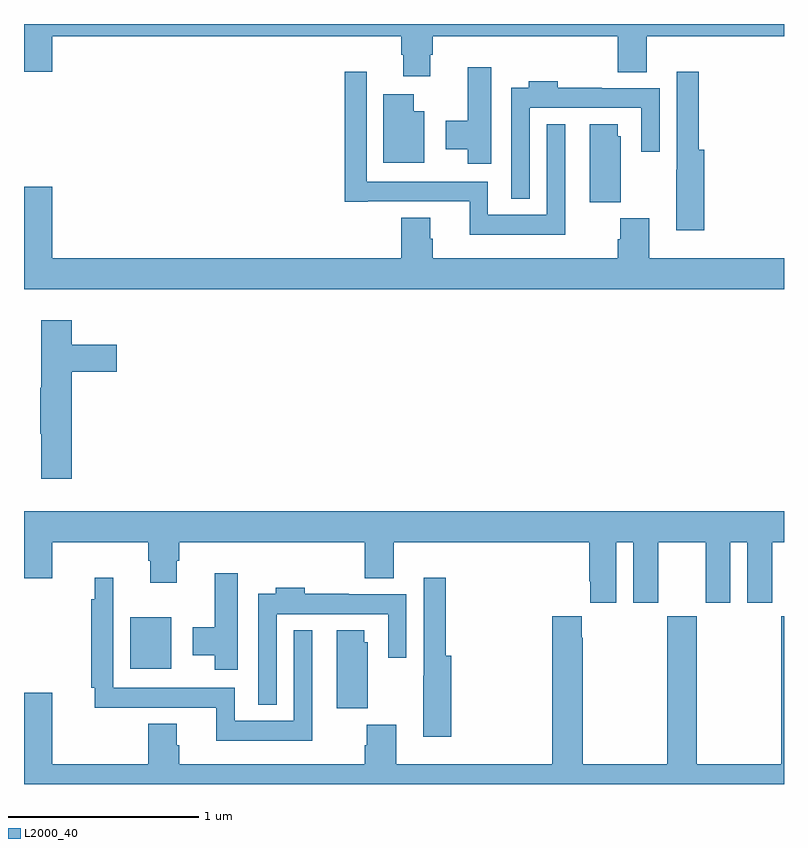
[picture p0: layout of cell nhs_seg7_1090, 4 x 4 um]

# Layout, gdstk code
import gdstk
lib = gdstk.Library(unit=1e-6, precision=1e-09)
def R(c, l, rs):  # rectangles x0, y0, x1, y1
    for r in rs: c.add(gdstk.rectangle(r[:2], r[2:], *l))
def P(c, l, *ps):  # polygons
    for p in ps: c.add(gdstk.Polygon(p, *l))
L2000_40 = (2000, 40)

nhs_seg7_1090 = lib.new_cell('nhs_seg7_1090')
R(nhs_seg7_1090, L2000_40, [(189.56,1010.606,189.775,1010.878)])
P(nhs_seg7_1090, L2000_40, [(191.137,1013.838),(191.15,1013.838),(191.15,1013.936),(192.125,1013.936),(192.125,1013.747),(192.277,1013.747),(192.277,1013.936),(193,1013.936),(193,1014),(189,1014),(189,1013.748),(189.148,1013.748),(189.148,1013.936),(190.985,1013.936),(190.985,1013.838),(190.997,1013.838),(190.997,1013.724),(191.137,1013.724)],
  [(191.458,1013.773),(191.336,1013.773),(191.336,1013.49),(191.219,1013.49),(191.219,1013.342),(191.336,1013.342),(191.336,1013.265),(191.458,1013.265)],
  [(192.581,1013.338),(192.551,1013.338),(192.551,1013.749),(192.435,1013.749),(192.435,1013.234),(192.434,1013.234),(192.434,1012.914),(192.581,1012.914)],
  [(191.848,1013.473),(191.751,1013.473),(191.751,1012.996),(191.442,1012.996),(191.442,1013.17),(190.803,1013.17),(190.803,1013.749),(190.687,1013.749),(190.687,1013.064),(190.81,1013.064),(190.81,1013.066),(191.345,1013.066),(191.345,1012.892),(191.848,1012.892)],
  [(191.661,1013.558),(192.249,1013.558),(192.249,1013.328),(192.345,1013.328),(192.345,1013.662),(192.041,1013.662),(192.041,1013.665),(191.81,1013.665),(191.81,1013.698),(191.657,1013.698),(191.657,1013.665),(191.565,1013.665),(191.565,1013.081),(191.661,1013.081)],
  [(191.107,1013.542),(191.05,1013.542),(191.05,1013.629),(190.892,1013.629),(190.892,1013.27),(191.107,1013.27)],
  [(192.142,1013.409),(192.124,1013.409),(192.124,1013.473),(191.978,1013.473),(191.978,1013.062),(192.142,1013.062)],
  [(193,1012.768),(192.29,1012.768),(192.29,1012.977),(192.137,1012.977),(192.137,1012.868),(192.125,1012.868),(192.125,1012.768),(191.15,1012.768),(191.15,1012.869),(191.137,1012.869),(191.137,1012.981),(190.985,1012.981),(190.985,1012.768),(189.148,1012.768),(189.148,1013.143),(189,1013.143),(189,1012.604),(193,1012.604)],
  [(189.251,1012.169),(189.487,1012.169),(189.487,1012.311),(189.251,1012.311),(189.251,1012.441),(189.092,1012.441),(189.092,1012.085),(189.085,1012.085),(189.085,1011.844),(189.092,1011.844),(189.092,1011.606),(189.251,1011.606)],
  [(192.118,1011.272),(192.206,1011.272),(192.206,1010.955),(192.337,1010.955),(192.337,1011.272),(192.587,1011.272),(192.587,1010.955),(192.718,1010.955),(192.718,1011.272),(192.806,1011.272),(192.806,1010.955),(192.937,1010.955),(192.937,1011.272),(193,1011.272),(193,1011.436),(189,1011.436),(189,1011.084),(189.148,1011.084),(189.148,1011.272),(189.653,1011.272),(189.653,1011.174),(189.665,1011.174),(189.665,1011.06),(189.805,1011.06),(189.805,1011.174),(189.818,1011.174),(189.818,1011.272),(190.793,1011.272),(190.793,1011.083),(190.945,1011.083),(190.945,1011.272),(191.975,1011.272),(191.975,1011.067),(191.981,1011.067),(191.981,1010.955),(192.118,1010.955)],
  [(190.126,1011.109),(190.004,1011.109),(190.004,1010.826),(189.887,1010.826),(189.887,1010.678),(190.004,1010.678),(190.004,1010.601),(190.126,1010.601)],
  [(190.516,1010.809),(190.419,1010.809),(190.419,1010.332),(190.11,1010.332),(190.11,1010.506),(189.471,1010.506),(189.471,1011.085),(189.373,1011.085),(189.373,1010.972),(189.355,1010.972),(189.355,1010.506),(189.373,1010.506),(189.373,1010.402),(190.013,1010.402),(190.013,1010.228),(190.516,1010.228)],
  [(191.249,1010.674),(191.219,1010.674),(191.219,1011.085),(191.103,1011.085),(191.103,1010.57),(191.102,1010.57),(191.102,1010.25),(191.249,1010.25)],
  [(190.329,1010.894),(190.917,1010.894),(190.917,1010.664),(191.013,1010.664),(191.013,1010.998),(190.709,1010.998),(190.709,1011.001),(190.478,1011.001),(190.478,1011.034),(190.325,1011.034),(190.325,1011.001),(190.233,1011.001),(190.233,1010.417),(190.329,1010.417)],
  [(193,1010.884),(192.985,1010.884),(192.985,1010.104),(192.54,1010.104),(192.54,1010.884),(192.385,1010.884),(192.385,1010.104),(191.94,1010.104),(191.94,1010.771),(191.935,1010.771),(191.935,1010.884),(191.78,1010.884),(191.78,1010.104),(190.958,1010.104),(190.958,1010.313),(190.805,1010.313),(190.805,1010.204),(190.793,1010.204),(190.793,1010.104),(189.818,1010.104),(189.818,1010.205),(189.805,1010.205),(189.805,1010.317),(189.653,1010.317),(189.653,1010.104),(189.148,1010.104),(189.148,1010.479),(189,1010.479),(189,1010),(193,1010)],
  [(190.81,1010.745),(190.792,1010.745),(190.792,1010.809),(190.646,1010.809),(190.646,1010.398),(190.81,1010.398)])

lib.write_gds('nhs_seg7_1090.gds')
